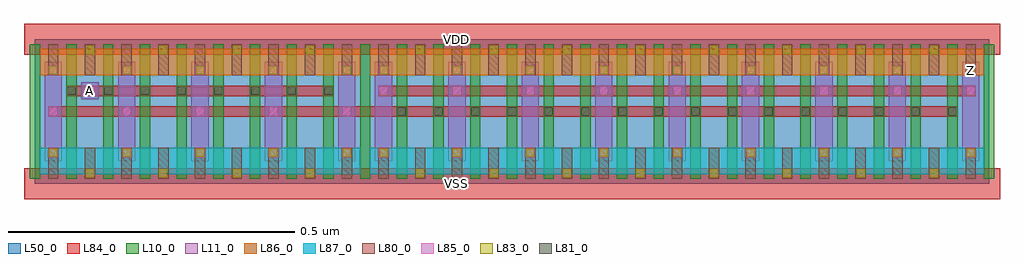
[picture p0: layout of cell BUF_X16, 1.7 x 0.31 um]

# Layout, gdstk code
import gdstk
lib = gdstk.Library(unit=1e-6, precision=1e-09)
def R(c, l, rs):  # rectangles x0, y0, x1, y1
    for r in rs: c.add(gdstk.rectangle(r[:2], r[2:], *l))
def A(c, l, x, y, w, h, nx, ny, dx, dy):  # array of equal rectangles
    R(c, l, [(x+i*dx, y+j*dy, x+i*dx+w, y+j*dy+h) for i in range(nx) for j in range(ny)])
L10_0 = (10, 0)
L11_0 = (11, 0)
L50_0 = (50, 0)
L80_0 = (80, 0)
L81_0 = (81, 0)
L83_0 = (83, 0)
L84_0 = (84, 0)
L85_0 = (85, 0)
L86_0 = (86, 0)
L87_0 = (87, 0)

buf_x16 = lib.new_cell('BUF_X16')
A(buf_x16, L10_0, -0.009, 0.009, 0.018, 0.234, 5, 1, 0.064, 0)
A(buf_x16, L10_0, 0.311, 0.009, 0.018, 0.234, 5, 1, 0.064, 0)
A(buf_x16, L10_0, 0.567, 0.009, 0.018, 0.234, 5, 1, 0.064, 0)
A(buf_x16, L10_0, 0.887, 0.009, 0.018, 0.234, 4, 1, 0.064, 0)
A(buf_x16, L10_0, 1.143, 0.009, 0.018, 0.234, 4, 1, 0.064, 0)
A(buf_x16, L10_0, 1.399, 0.009, 0.018, 0.234, 5, 1, 0.064, 0)
R(buf_x16, L10_0, [(0.247,0.009,0.265,0.243), (0.311,0.009,0.329,0.243), (0.823,0.009,0.841,0.243), (0.887,0.009,0.905,0.243), (1.079,0.009,1.097,0.243), (1.143,0.009,1.161,0.243), (1.335,0.009,1.353,0.243), (1.399,0.009,1.417,0.243)])
A(buf_x16, L11_0, 0.017, 0.039, 0.03, 0.174, 3, 1, 0.128, 0)
A(buf_x16, L11_0, 0.273, 0.039, 0.03, 0.174, 3, 1, 0.128, 0)
A(buf_x16, L11_0, 0.593, 0.039, 0.03, 0.174, 3, 1, 0.128, 0)
A(buf_x16, L11_0, 0.849, 0.039, 0.03, 0.174, 3, 1, 0.128, 0)
A(buf_x16, L11_0, 1.105, 0.039, 0.03, 0.174, 3, 1, 0.128, 0)
A(buf_x16, L11_0, 1.361, 0.039, 0.03, 0.174, 3, 1, 0.128, 0)
R(buf_x16, L11_0, [(0.081,0.147,0.111,0.177)])
R(buf_x16, L50_0, [(0,0,1.664,0.252)])
A(buf_x16, L80_0, 0.023, 0.009, 0.018, 0.054, 5, 2, 0.064, 0.18)
A(buf_x16, L80_0, 0.279, 0.009, 0.018, 0.054, 10, 2, 0.064, 0.18)
A(buf_x16, L80_0, 0.855, 0.009, 0.018, 0.054, 5, 2, 0.064, 0.18)
A(buf_x16, L80_0, 1.111, 0.009, 0.018, 0.054, 5, 2, 0.064, 0.18)
A(buf_x16, L80_0, 1.367, 0.009, 0.018, 0.054, 5, 2, 0.064, 0.18)
A(buf_x16, L81_0, 0.633, 0.119, 0.014, 0.014, 16, 1, 0.064, 0)
A(buf_x16, L81_0, 0.057, 0.155, 0.014, 0.014, 8, 1, 0.064, 0)
A(buf_x16, L83_0, 0.089, 0.011, 0.014, 0.014, 4, 2, 0.128, 0.216)
A(buf_x16, L83_0, 0.665, 0.011, 0.014, 0.014, 8, 2, 0.128, 0.216)
A(buf_x16, L83_0, 0.025, 0.047, 0.014, 0.014, 3, 2, 0.128, 0.144)
A(buf_x16, L83_0, 0.281, 0.047, 0.014, 0.014, 3, 2, 0.128, 0.144)
A(buf_x16, L83_0, 0.601, 0.047, 0.014, 0.014, 3, 2, 0.128, 0.144)
A(buf_x16, L83_0, 0.857, 0.047, 0.014, 0.014, 3, 2, 0.128, 0.144)
A(buf_x16, L83_0, 1.113, 0.047, 0.014, 0.014, 3, 2, 0.128, 0.144)
A(buf_x16, L83_0, 1.369, 0.047, 0.014, 0.014, 3, 2, 0.128, 0.144)
A(buf_x16, L84_0, 0.557, -0.027, 0.358, 0.054, 4, 2, 0.256, 0.252)
A(buf_x16, L84_0, 0.023, 0.045, 0.018, 0.018, 3, 2, 0.128, 0.144)
A(buf_x16, L84_0, 0.279, 0.045, 0.018, 0.018, 3, 2, 0.128, 0.144)
A(buf_x16, L84_0, 0.599, 0.045, 0.018, 0.018, 3, 2, 0.128, 0.144)
A(buf_x16, L84_0, 0.855, 0.045, 0.018, 0.018, 3, 2, 0.128, 0.144)
A(buf_x16, L84_0, 1.111, 0.045, 0.018, 0.018, 3, 2, 0.128, 0.144)
A(buf_x16, L84_0, 1.367, 0.045, 0.018, 0.018, 3, 2, 0.128, 0.144)
A(buf_x16, L84_0, 0.599, 0.153, 0.274, 0.018, 4, 1, 0.256, 0)
R(buf_x16, L84_0, [(-0.019,-0.027,0.339,0.027), (0.237,-0.027,0.595,0.027), (0.023,0.117,0.297,0.135), (0.279,0.117,0.649,0.135), (0.631,0.117,0.889,0.135), (0.887,0.117,1.161,0.135), (1.143,0.117,1.401,0.135), (1.399,0.117,1.609,0.135), (0.055,0.153,0.313,0.171), (0.311,0.153,0.521,0.171), (-0.019,0.225,0.339,0.279), (0.237,0.225,0.595,0.279)])
A(buf_x16, L85_0, 0.024, 0.046, 0.016, 0.016, 3, 3, 0.128, 0.072)
A(buf_x16, L85_0, 0.28, 0.046, 0.016, 0.016, 3, 3, 0.128, 0.072)
A(buf_x16, L85_0, 0.6, 0.046, 0.016, 0.016, 3, 2, 0.128, 0.108)
A(buf_x16, L85_0, 0.856, 0.046, 0.016, 0.016, 3, 2, 0.128, 0.108)
A(buf_x16, L85_0, 1.112, 0.046, 0.016, 0.016, 3, 2, 0.128, 0.108)
A(buf_x16, L85_0, 1.368, 0.046, 0.016, 0.016, 3, 2, 0.128, 0.108)
A(buf_x16, L85_0, 0.6, 0.19, 0.016, 0.016, 3, 1, 0.128, 0)
A(buf_x16, L85_0, 0.856, 0.19, 0.016, 0.016, 3, 1, 0.128, 0)
A(buf_x16, L85_0, 1.112, 0.19, 0.016, 0.016, 3, 1, 0.128, 0)
A(buf_x16, L85_0, 1.368, 0.19, 0.016, 0.016, 3, 1, 0.128, 0)
R(buf_x16, L85_0, [(0.088,0.154,0.104,0.17)])
A(buf_x16, L86_0, 0.585, 0.189, 0.302, 0.046, 4, 1, 0.256, 0)
R(buf_x16, L86_0, [(0.009,0.189,0.311,0.235), (0.265,0.189,0.567,0.235)])
A(buf_x16, L87_0, 0.585, 0.017, 0.302, 0.046, 4, 1, 0.256, 0)
R(buf_x16, L87_0, [(0.009,0.017,0.311,0.063), (0.265,0.017,0.567,0.063)])
buf_x16.add(gdstk.Label('VSS', (0.736,0), layer=88, texttype=0))
buf_x16.add(gdstk.Label('VDD', (0.736,0.252), layer=88, texttype=0))
buf_x16.add(gdstk.Label('Z', (1.631,0.198), layer=31, texttype=0))
buf_x16.add(gdstk.Label('A', (0.096,0.162), layer=31, texttype=0))

lib.write_gds('BUF_X16.gds')
